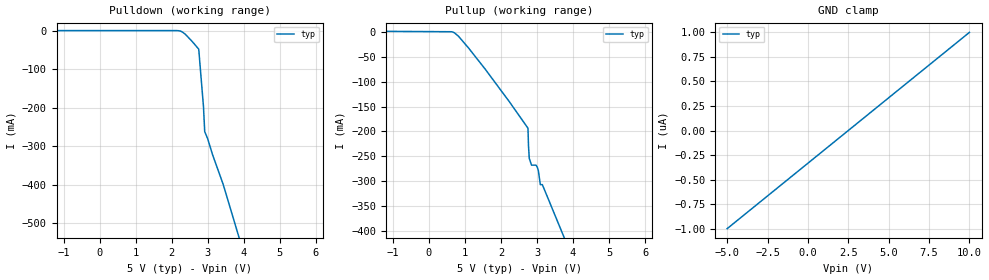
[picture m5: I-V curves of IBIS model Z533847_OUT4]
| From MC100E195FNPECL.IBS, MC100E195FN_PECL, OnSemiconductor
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| (C) COPYRIGHT 1993-2000
| MENTOR GRAPHICS CORPORATION
| ICX STANDARD LIBRARY, ICX PROJECT MODELING,
| ICX CUSTOM MODELING, ICX VENDOR MODEL
| ALL RIGHTS RESERVED.
| THE FOLLOWING ARE TRADEMARKS OR SERVICE MARKS OF
| MENTOR GRAPHICS CORPORATION:ICX (R), ICX STANDARD
| LIBRARY(R), ICX PROJECT MODELING(R), ICX CUSTOM
| MODELING(R), qualityIBIS(TM), MODELVIEWER(TM),
| AND MODELEDITOR(TM)
| ALL COPIES OF SOFTWARE, INCLUDING BUT NOT LIMITED TO
| ANY MODIFICATIONS, ENHANCEMENTS OR DERIVATIVE WORKS,
| MUST CONTAIN ALL MENTOR GRAPHICS CORPORATION'S
| NOTICES AND LEGENDS, INCLUDING THOSE EMBEDDED IN
| SOFTWARE AND THOSE AFFIXED TO SOFTWARE MEDIUM
| AND CONTAINER, AS RECEIVED FROM MENTOR GRAPHICS
| CORPORATION.
| Model Application Version 1.89 2/18/99.
[Model] Z533847_OUT4
Model_type Output_ECL
Vref=3.000V
Rref=50.00ohms
Cref=0.000F
Vmeas=3.677V
C_comp 8.000pF NA NA
| variable typ   min   max
[Voltage Range] 5.000V NA NA
[POWER Clamp Reference] 5.000V NA NA
[Pullup Reference] 5.000V NA NA
[Pulldown Reference] 5.000V NA NA
[GND Clamp Reference] 0.000V NA NA
[GND Clamp]
-5V       -1uA       NA         NA
10V       1uA        NA         NA
[Pulldown]
-5V       267.5uA    NA         NA
2.239V    -963.5uA   NA         NA
2.373V    -9.014mA   NA         NA
2.749V    -47.86mA   NA         NA
2.881V    -197.2mA   NA         NA
2.915V    -261.7mA   NA         NA
2.998V    -280.4mA   NA         NA
3.131V    -321.1mA   NA         NA
3.428V    -398.6mA   NA         NA
10V       -2.454A    NA         NA
[Pullup]
-5V       2.339mA    NA         NA
661mV     -682.1uA   NA         NA
814mV     -8.758mA   NA         NA
1.562V    -75.17mA   NA         NA
2.749V    -193.5mA   NA         NA
2.763V    -228.6mA   NA         NA
2.785V    -254mA     NA         NA
2.847V    -267.5mA   NA         NA
3.007V    -271.5mA   NA         NA
3.037V    -278.4mA   NA         NA
3.092V    -306.6mA   NA         NA
10V       -1.506A    NA         NA
[POWER Clamp]
-5V       0A         NA         NA
10V       0A         NA         NA
[Ramp]
| variable typ min max
dV/dt_r 911.6m/2.100n NA NA
dV/dt_f 911.6m/1.074n NA NA
R_load = 500.0Ohms
